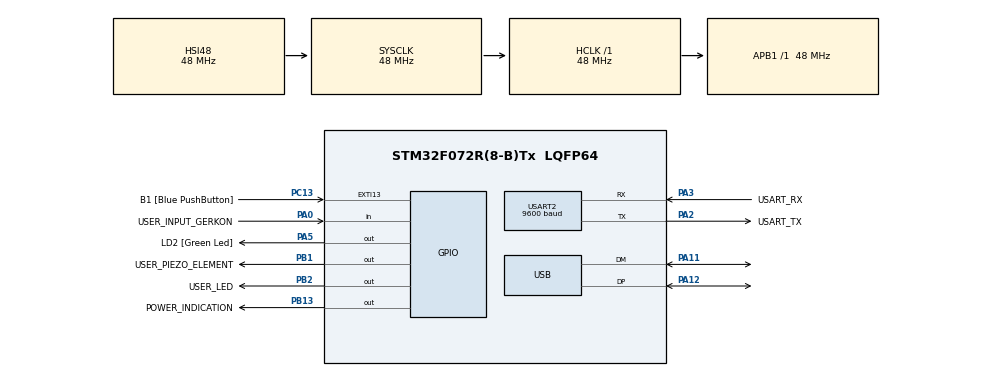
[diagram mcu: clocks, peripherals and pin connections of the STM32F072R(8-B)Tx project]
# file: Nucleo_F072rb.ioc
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Mcu.Family=STM32F0
PA2.GPIO_PuPd=GPIO_NOPULL
USB_DEVICE.CLASS_NAME_FS=CDC
NVIC.USB_IRQn=true\:0\:0\:false\:false\:true\:false\:true
NVIC.TIM6_DAC_IRQn=true\:0\:0\:false\:false\:true\:true\:true
PA14.GPIO_Label=TCK
PA3.GPIO_PuPd=GPIO_NOPULL
PA0.GPIO_Label=USER_INPUT_GERKON
PA2.GPIO_Speed=GPIO_SPEED_FREQ_LOW
PA11.Mode=Device
PC13.GPIO_Label=B1 [Blue PushButton]
PB13.GPIO_Label=POWER_INDICATION
PA3.GPIO_Speed=GPIO_SPEED_FREQ_LOW
PB13.Signal=GPIO_Output
RCC.SYSCLKSource=RCC_SYSCLKSOURCE_HSI48
ProjectManager.StackSize=0x400
VP_TIM7_VS_ClockSourceINT.Mode=Enable_Timer
PA12.Signal=USB_DP
RCC.HCLKFreq_Value=48000000
TIM7.Period=999
RCC.AHBFreq_Value=48000000
RCC.PREFETCH_ENABLE-AdvancedSettings=1
PB2.Signal=GPIO_Output
USART2.VirtualMode-Asynchronous=VM_ASYNC
RCC.PLLMUL=RCC_PLL_MUL12
PC14-OSC32_IN.Mode=LSE-External-Oscillator
PA14.Mode=Serial_Wire
PA5.GPIO_PuPd=GPIO_NOPULL
PB1.GPIO_Label=USER_PIEZO_ELEMENT
TIM6.Period=9
PA0.Signal=GPIO_Input
RCC.FLatency-AdvancedSettings=FLASH_LATENCY_1
Mcu.Package=LQFP64
PB1.Signal=GPIO_Output
USART2.VirtualMode=VM_ASYNC
PA2.GPIO_Label=USART_TX
RCC.APB1TimFreq_Value=48000000
NVIC.TIM7_IRQn=true\:0\:0\:false\:false\:true\:true\:true
NVIC.EXTI4_15_IRQn=true\:0\:0\:false\:false\:true\:true\:true
PF1-OSC_OUT.Signal=RCC_OSC_OUT
PA3.Signal=USART2_RX
PA2.GPIO_Mode=GPIO_MODE_AF_PP
PC15-OSC32_OUT.Mode=LSE-External-Oscillator
USB_DEVICE.VirtualModeFS=Cdc_FS
PC13.Signal=GPXTI13
TIM6.Prescaler=7999
VP_TIM6_VS_ClockSourceINT.Mode=Enable_Timer
PC14-OSC32_IN.Signal=RCC_OSC32_IN
NVIC.USART2_IRQn=true\:0\:0\:false\:false\:true\:true\:true
USART2.BaudRate=9600
PA13.Signal=SYS_SWDIO
PA3.Mode=Asynchronous
ProjectManager.TargetToolchain=STM32CubeIDE
PA3.GPIO_Mode=GPIO_MODE_AF_PP
VP_USB_DEVICE_VS_USB_DEVICE_CDC_FS.Mode=CDC_FS
RCC.PLLDivider=RCC_PREDIV_DIV2
PC15-OSC32_OUT.Signal=RCC_OSC32_OUT
PF0-OSC_IN.Mode=HSE-External-Clock-Source
PA5.Signal=GPIO_Output
TIM7.Prescaler=7
board=NUCLEO-F072RB
PA13.Mode=Serial_Wire
Mcu.Name=STM32F072R(8-B)Tx
PA13.GPIO_Label=TMS
PA2.Signal=USART2_TX
RCC.SYSCLKFreq_VALUE=48000000
PA12.Mode=Device
PA5.GPIO_Label=LD2 [Green Led]
PC13.GPIO_ModeDefaultEXTI=GPIO_MODE_IT_FALLING
PA11.Signal=USB_DM
PA14.Signal=SYS_SWCLK
PB2.GPIO_Label=USER_LED
ProjectManager.HeapSize=0x200
PA5.GPIO_Speed=GPIO_SPEED_FREQ_LOW
PA2.Mode=Asynchronous
PF0-OSC_IN.Signal=RCC_OSC_IN
RCC.APB1Freq_Value=48000000
PA5.GPIO_Mode=GPIO_MODE_OUTPUT_PP
USB_DEVICE.VirtualMode=Cdc
PA3.GPIO_Label=USART_RX

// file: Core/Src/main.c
/* USER CODE BEGIN Header */
/**
  ******************************************************************************
  * @file           : main.c
  * @brief          : Main program body
  ******************************************************************************
  * @attention
  *
  * <h2><center>&copy; Copyright (c) 2021 STMicroelectronics.
  * All rights reserved.</center></h2>
  *
  * This software component is licensed by ST under Ultimate Liberty license
  * SLA0044, the "License"; You may not use this file except in compliance with
  * the License. You may obtain a copy of the License at:
  *                             www.st.com/SLA0044
  *
  ******************************************************************************
  */
/* USER CODE END Header */

#include "main.h"
#include "usb_device.h"

TIM_HandleTypeDef htim6;
TIM_HandleTypeDef htim7;

UART_HandleTypeDef huart2;

void SystemClock_Config(void);
static void MX_GPIO_Init(void);
static void MX_USART2_UART_Init(void);
static void MX_TIM6_Init(void);
static void MX_TIM7_Init(void);
/* USER CODE BEGIN PFP */

void enableAlarm(void);
void disableAlarm(void);
void sendAlarm(void);
void sendOk(void);
void setGreenColor(void);
void setBlueColor(void);

/* USER CODE END PFP */

/* USER CODE BEGIN 0 */

uint8_t  InputState =  GPIO_PIN_SET;
uint8_t  EnableFlag = 0;
uint8_t  CounterBounce = 0;

char string_alarm[] = "ALARM !!! ALARM !!!\r\n";

char string_ok[] = "OK\r\n";

/* USER CODE END 0 */

int main(void)
{

  /* MCU Configuration--------------------------------------------------------*/

  /* Reset of all peripherals, Initializes the Flash interface and the Systick. */
  HAL_Init();

  /* Configure the system clock */
  SystemClock_Config();            // конфигурация системы тактирования всего микроконтроллера

  /* Initialize all configured peripherals */
  MX_GPIO_Init();       // Инициализация всех пинов используемых в данном проекте
  MX_USART2_UART_Init(); // Инициализация UART2
// MX_USB_DEVICE_Init();
  MX_TIM6_Init();       // Инициализация таймера TIM6
  MX_TIM7_Init();       // Инициализация таймера TIM7
  /* USER CODE BEGIN 2 */
/*
 * старт таймеров для использования в программе,
 * после инициализации обработка событий обоих таймеров производится
 * в функции void HAL_TIM_PeriodElapsedCallback(TIM_HandleTypeDef *htim);
 *
 */
  HAL_TIM_Base_Start_IT(&htim6);    //  стартуем работу и наступление событий по прерванию от TIM6
  HAL_TIM_Base_Start_IT(&htim7);    //  стартуем работу и наступление событий по прерванию от TIM7

  /* USER CODE END 2 */

  /* Infinite loop */
  /* USER CODE BEGIN WHILE */

  // в while  отправлем события в UART, все остальные действия выполняем в прерываниях.
  while (1)
  {
	  if(EnableFlag)      // флаг наступления события тревоги, флаг выставляется в обработчике прерывания
	  {

		setGreenColor();  // выставить зеленый цвет для вывода отладочной информации в UART

		sendAlarm();      // отправка события "ALARM" в UART

	    HAL_Delay(1000);  // пауза в 1000 ms
	  }

	  else
	  {

		  setBlueColor();  // выставить голубой цвет для вывода отладочной информации в UART

		  sendOk();        // отправка события "OK" в UART

		  HAL_Delay(2000); // пауза в 2000 ms
	  }

    /* USER CODE END WHILE */

  }
}

void SystemClock_Config(void)
{
  RCC_OscInitTypeDef RCC_OscInitStruct = {0};
  RCC_ClkInitTypeDef RCC_ClkInitStruct = {0};
  RCC_PeriphCLKInitTypeDef PeriphClkInit = {0};

  /** Initializes the CPU, AHB and APB busses clocks
  */
  RCC_OscInitStruct.OscillatorType = RCC_OSCILLATORTYPE_HSI48;
  RCC_OscInitStruct.HSI48State = RCC_HSI48_ON;
  RCC_OscInitStruct.PLL.PLLState = RCC_PLL_NONE;
  if (HAL_RCC_OscConfig(&RCC_OscInitStruct) != HAL_OK)
  {
    Error_Handler();
  }
  /** Initializes the CPU, AHB and APB busses clocks
  */
  RCC_ClkInitStruct.ClockType = RCC_CLOCKTYPE_HCLK|RCC_CLOCKTYPE_SYSCLK
                              |RCC_CLOCKTYPE_PCLK1;
  RCC_ClkInitStruct.SYSCLKSource = RCC_SYSCLKSOURCE_HSI48;
  RCC_ClkInitStruct.AHBCLKDivider = RCC_SYSCLK_DIV1;
  RCC_ClkInitStruct.APB1CLKDivider = RCC_HCLK_DIV1;

  if (HAL_RCC_ClockConfig(&RCC_ClkInitStruct, FLASH_LATENCY_1) != HAL_OK)
  {
    Error_Handler();
  }
  PeriphClkInit.PeriphClockSelection = RCC_PERIPHCLK_USB|RCC_PERIPHCLK_USART2;
  PeriphClkInit.Usart2ClockSelection = RCC_USART2CLKSOURCE_PCLK1;
  PeriphClkInit.UsbClockSelection = RCC_USBCLKSOURCE_HSI48;

  if (HAL_RCCEx_PeriphCLKConfig(&PeriphClkInit) != HAL_OK)
  {
    Error_Handler();
  }
}

static void MX_TIM6_Init(void)
{

  TIM_MasterConfigTypeDef sMasterConfig = {0};

  htim6.Instance = TIM6;
  htim6.Init.Prescaler = 47999;                // делим частоту 48.000.000 на 48000 и получаем 1000 Гц, это тактирование таймера раз 1 ms
  htim6.Init.CounterMode = TIM_COUNTERMODE_UP; // счетчик испульсов считает вверх
  htim6.Init.Period = 9;                       // отсчитываем 10 тактов, то есть 10 ms, и каждые 10 ms выдаем событие
  htim6.Init.AutoReloadPreload = TIM_AUTORELOAD_PRELOAD_DISABLE;
  if (HAL_TIM_Base_Init(&htim6) != HAL_OK)
  {
    Error_Handler();
  }
  sMasterConfig.MasterOutputTrigger = TIM_TRGO_RESET;
  sMasterConfig.MasterSlaveMode = TIM_MASTERSLAVEMODE_DISABLE;
  if (HAL_TIMEx_MasterConfigSynchronization(&htim6, &sMasterConfig) != HAL_OK)
  {
    Error_Handler();
  }

}

static void MX_TIM7_Init(void)
{

  TIM_MasterConfigTypeDef sMasterConfig = {0};

  htim7.Instance = TIM7;
  htim7.Init.Prescaler = 47999;              // делим частоту 48.000.000 на 48000 и получаем 1000 Гц, это тактирование таймера  раз 1 ms
  htim7.Init.CounterMode = TIM_COUNTERMODE_UP;
  htim7.Init.Period = 499;                    // отсчитываем 10 тактов, то есть 500 ms, и каждые 500 ms выдаем событие
  htim7.Init.AutoReloadPreload = TIM_AUTORELOAD_PRELOAD_DISABLE;
  if (HAL_TIM_Base_Init(&htim7) != HAL_OK)
  {
    Error_Handler();
  }
  sMasterConfig.MasterOutputTrigger = TIM_TRGO_RESET;
  sMasterConfig.MasterSlaveMode = TIM_MASTERSLAVEMODE_DISABLE;
  if (HAL_TIMEx_MasterConfigSynchronization(&htim7, &sMasterConfig) != HAL_OK)
  {
    Error_Handler();
  }

}

static void MX_USART2_UART_Init(void)
{

  huart2.Instance = USART2;
  huart2.Init.BaudRate = 115200;                 // скорость работы UART 9600
  huart2.Init.WordLength = UART_WORDLENGTH_8B; // длина слова 8 бит
  huart2.Init.StopBits = UART_STOPBITS_1;      // 1 stop bit
  huart2.Init.Parity = UART_PARITY_NONE;
  huart2.Init.Mode = UART_MODE_TX_RX;
  huart2.Init.HwFlowCtl = UART_HWCONTROL_NONE;
  huart2.Init.OverSampling = UART_OVERSAMPLING_16;
  huart2.Init.OneBitSampling = UART_ONE_BIT_SAMPLE_DISABLE;
  huart2.AdvancedInit.AdvFeatureInit = UART_ADVFEATURE_NO_INIT;
  if (HAL_UART_Init(&huart2) != HAL_OK)
  {
    Error_Handler();
  }

}

static void MX_GPIO_Init(void)
{
  GPIO_InitTypeDef GPIO_InitStruct = {0};

  /* GPIO Ports Clock Enable */
  __HAL_RCC_GPIOC_CLK_ENABLE();  //тактирование порта С
  __HAL_RCC_GPIOF_CLK_ENABLE();  //тактирование порта F
  __HAL_RCC_GPIOA_CLK_ENABLE();  //тактирование порта A
  __HAL_RCC_GPIOB_CLK_ENABLE();  //тактирование порта B

  /*Configure GPIO pin Output Level */
  HAL_GPIO_WritePin(LD2_GPIO_Port, LD2_Pin, GPIO_PIN_RESET); // пин выставлем в LOW

  /*Configure GPIO pin Output Level */
  HAL_GPIO_WritePin(GPIOB, USER_PIEZO_ELEMENT_Pin|USER_LED_Pin|POWER_INDICATION_Pin, GPIO_PIN_RESET); // пины выставлем в LOW

  /*Configure GPIO pin : B1_Pin */
  GPIO_InitStruct.Pin = B1_Pin;
  GPIO_InitStruct.Mode = GPIO_MODE_IT_FALLING;
  GPIO_InitStruct.Pull = GPIO_NOPULL;
  HAL_GPIO_Init(B1_GPIO_Port, &GPIO_InitStruct);

  /*Configure GPIO pin : USER_INPUT_GERKON_Pin */
  GPIO_InitStruct.Pin = USER_INPUT_GERKON_Pin;
  GPIO_InitStruct.Mode = GPIO_MODE_INPUT;
  GPIO_InitStruct.Pull =  GPIO_PULLUP;   // подтянут к вверху , то есть 3.3 вольта
  HAL_GPIO_Init(USER_INPUT_GERKON_GPIO_Port, &GPIO_InitStruct);

  /*Configure GPIO pin : LD2_Pin */
  GPIO_InitStruct.Pin = LD2_Pin;
  GPIO_InitStruct.Mode = GPIO_MODE_OUTPUT_PP;
  GPIO_InitStruct.Pull = GPIO_NOPULL;
  GPIO_InitStruct.Speed = GPIO_SPEED_FREQ_LOW;
  HAL_GPIO_Init(LD2_GPIO_Port, &GPIO_InitStruct);

  /*Configure GPIO pins : USER_PIEZO_ELEMENT_Pin USER_LED_Pin POWER_INDICATION_Pin */
  GPIO_InitStruct.Pin = USER_PIEZO_ELEMENT_Pin|USER_LED_Pin|POWER_INDICATION_Pin;
  GPIO_InitStruct.Mode = GPIO_MODE_OUTPUT_PP;
  GPIO_InitStruct.Pull = GPIO_NOPULL;
  GPIO_InitStruct.Speed = GPIO_SPEED_FREQ_LOW;
  HAL_GPIO_Init(GPIOB, &GPIO_InitStruct);

  /* EXTI interrupt init*/
  HAL_NVIC_SetPriority(EXTI4_15_IRQn, 0, 0);
  HAL_NVIC_EnableIRQ(EXTI4_15_IRQn);

}

/* USER CODE BEGIN 4 */

/**
* @brief  HAL_TIM_PeriodElapsedCallback
* @param  structure of timer
* @retval None
*/

/*
 * данная функция вызывается каждый раз  при наступлении события от
 * таймеров TIM6 и TIM7, в ней производится обработка события, то есть выполняются необходимые нам действия
 */
void HAL_TIM_PeriodElapsedCallback(TIM_HandleTypeDef *htim)
{
  /*  timer6 for button
   *  для отслеживания нажатия кнопки и
   *  устранения дребезга, если кнопку
   *  нажимали менее 50 ms- то это дребезг
   *  попадаем в этом в обработчик раз в 10 ms
  */
  if(htim->Instance == TIM6) // попадаем в данный if каждые 10 ms, так настроен таймер TIM6
  {
	  InputState = HAL_GPIO_ReadPin(USER_INPUT_GERKON_GPIO_Port,USER_INPUT_GERKON_Pin);

	   if(InputState==GPIO_PIN_RESET)
	     {
		     CounterBounce++; //  счетчик отрезков времени. считаем кол-во  отрезков времени по 10 ms
	     }

	     else
	     {
		     CounterBounce = 0;  // любой дребезг - сброс счетчика отрезков времени.
		     EnableFlag = 0;
	     }

	  if(CounterBounce > 5) // >=50 ms
	     {
	       EnableFlag = 1;   // выставляем флаг для включения тревоги
	     }

  }

  /*
   *  timer7 for alarm
   *
  */
  else if(htim->Instance == TIM7) // попадаем сюда каждые 500 ms,  так настроен таймер TIM7
  {

	    if(EnableFlag)     // если флага в 1
	      {
		   enableAlarm(); //
	      }
	    else // если флага в 0
	      {
		   disableAlarm();
	      }
   }

}

void enableAlarm(void)
{

   HAL_GPIO_TogglePin(GPIOB,USER_PIEZO_ELEMENT_Pin); // звук

   HAL_GPIO_TogglePin(GPIOB,USER_LED_Pin);           // свет
}

void disableAlarm(void )
{
	HAL_GPIO_WritePin(GPIOB,USER_PIEZO_ELEMENT_Pin ,GPIO_PIN_RESET );

	HAL_GPIO_WritePin(GPIOB,USER_LED_Pin ,GPIO_PIN_RESET);
}

void sendAlarm(void)
{
    HAL_UART_Transmit(&huart2,(uint8_t *)string_alarm, (uint16_t)strlen(string_alarm),200);
}

void sendOk(void)
{
	 HAL_UART_Transmit(&huart2,(uint8_t *)string_ok, (uint16_t)strlen(string_ok),200);
}

void setGreenColor(void)
{
	HAL_UART_Transmit(&huart2,(uint8_t *)"\033[31m\0", (uint16_t)strlen("\033[31m\0"),200);
}

void setBlueColor(void)
{
	  HAL_UART_Transmit(&huart2,(uint8_t *)"\033[34m\0", (uint16_t)strlen("\033[34m\0"),200);
}

/* USER CODE END 4 */

void Error_Handler(void)
{
}

/************************ (C) COPYRIGHT STMicroelectronics *****END OF FILE****/
